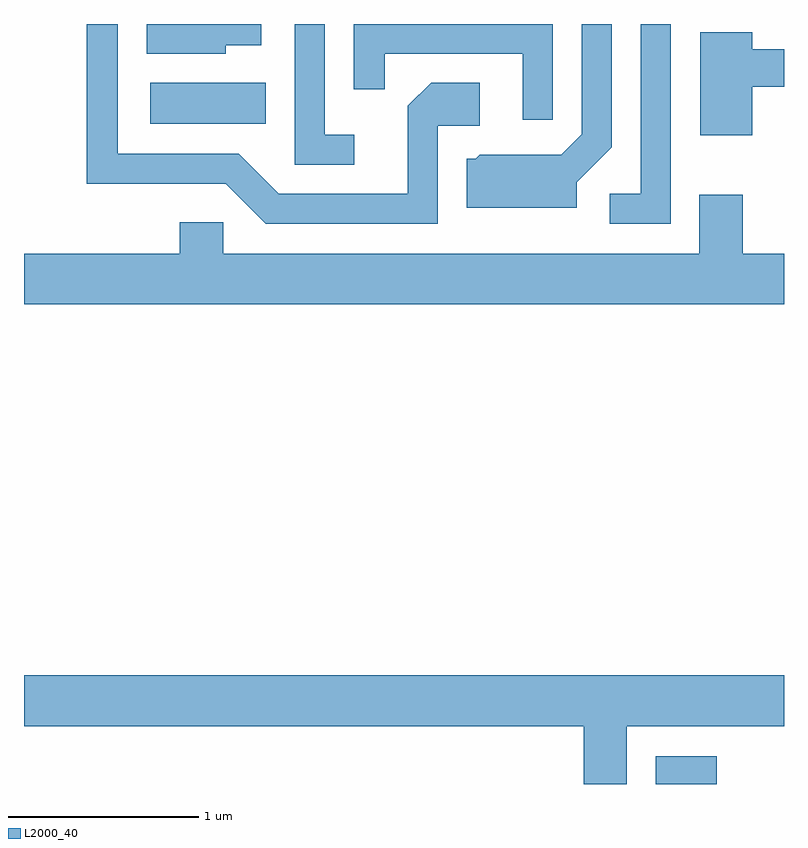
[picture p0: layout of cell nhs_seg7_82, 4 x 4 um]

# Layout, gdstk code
import gdstk
lib = gdstk.Library(unit=1e-6, precision=1e-09)
def R(c, l, rs):  # rectangles x0, y0, x1, y1
    for r in rs: c.add(gdstk.rectangle(r[:2], r[2:], *l))
def P(c, l, *ps):  # polygons
    for p in ps: c.add(gdstk.Polygon(p, *l))
L2000_40 = (2000, 40)

nhs_seg7_82 = lib.new_cell('nhs_seg7_82')
R(nhs_seg7_82, L2000_40, [(190.936,1696.252,191.258,1696.399), (188.276,1699.726,188.884,1699.944)])
P(nhs_seg7_82, L2000_40, [(189.789,1699.716),(190.009,1699.716),(190.009,1699.944),(189.754,1699.944),(189.631,1699.822),(189.631,1699.359),(188.952,1699.359),(188.742,1699.569),(188.104,1699.569),(188.104,1700.252),(187.941,1700.252),(187.941,1699.411),(188.674,1699.411),(188.884,1699.201),(189.789,1699.201)],
  [(190.519,1699.419),(190.704,1699.604),(190.704,1700.252),(190.546,1700.252),(190.546,1699.672),(190.439,1699.564),(190.009,1699.564),(189.989,1699.544),(189.941,1699.544),(189.941,1699.286),(190.519,1699.286)],
  [(189.348,1699.669),(189.194,1699.669),(189.194,1700.252),(189.036,1700.252),(189.036,1699.511),(189.348,1699.511)],
  [(188.674,1700.141),(188.859,1700.141),(188.859,1700.252),(188.256,1700.252),(188.256,1700.096),(188.674,1700.096)],
  [(190.394,1700.252),(189.346,1700.252),(189.346,1699.908),(189.509,1699.908),(189.509,1700.096),(190.236,1700.096),(190.236,1699.748),(190.394,1699.748)],
  [(191.014,1700.252),(190.856,1700.252),(190.856,1699.359),(190.693,1699.359),(190.693,1699.201),(191.014,1699.201)],
  [(191.444,1699.921),(191.611,1699.921),(191.611,1700.119),(191.444,1700.119),(191.444,1700.209),(191.171,1700.209),(191.171,1699.666),(191.444,1699.666)],
  [(191.611,1699.044),(191.394,1699.044),(191.394,1699.354),(191.166,1699.354),(191.166,1699.044),(188.659,1699.044),(188.659,1699.209),(188.431,1699.209),(188.431,1699.044),(187.611,1699.044),(187.611,1698.776),(191.611,1698.776)],
  [(190.784,1696.556),(191.611,1696.556),(191.611,1696.824),(187.611,1696.824),(187.611,1696.556),(190.556,1696.556),(190.556,1696.252),(190.784,1696.252)])

lib.write_gds('nhs_seg7_82.gds')
